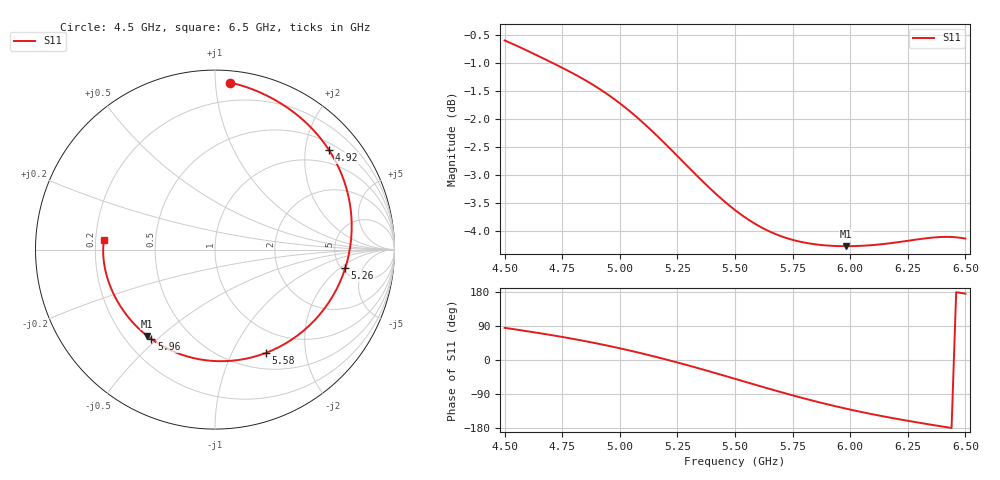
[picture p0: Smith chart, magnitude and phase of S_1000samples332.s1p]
! TOUCHSTONE file generated by CST MICROWAVE STUDIO
! Date and time: Thu Oct 27 19:37:09 2022
! Project name: L.cst
! Parameters = {Di=1.27; Epsilon_r=1.56; InnerDiameter=1.27; Length=2; Lf=10; Lg=60; OuterConductorThickness=0.2921; OuterDiameter=3.6; Wf=3; Wp=41.2; de=1.5; df=6.8; g=0.8; gx=4.68885; gy=2.17261; h=2.34; hf=1.524; px=13.4149; py=9.33814; w=9.7; wx=8.72603; wy=7.16553}
! Header version: 2018
! Port assignment regex: !\s*Touchstone port\s*([0-9]+)\s*=\s*(CST MWS port|CST DS port)\s*([0-9]+|Zmin|Zmax)\s*\(\"(.*)\"\)(\s*mode\s*([0-9]+))?.*
! Touchstone port assignment:
! Touchstone port 1 = CST MWS port 1 ("")
# GHz S DB R 50
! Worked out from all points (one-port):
!   101 points, 4.5 GHz to 6.5 GHz, reference 50 ohm
!   lowest |S11| = -4.3 dB at 5.98 GHz (marker M1), VSWR 4.15, Z = 14.7 - j22.6 ohm
!   |S11| at or under -10 dB: nowhere
!   S11 on the Smith chart (normalised r, x): 4.5 GHz: 0.07, +1.09; 4.92 GHz: 0.65, +2.51; 5.26 GHz: 5.36, -2.42; 5.58 GHz: 0.69, -1.36; 5.96 GHz: 0.30, -0.48; 6.5 GHz: 0.23, +0.04
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4.5  -0.59 84.9
4.56  -0.70 79.4
4.64  -0.86 71.9
4.76  -1.10 59.8
4.84  -1.28 50.9
4.92  -1.48 41.2
5  -1.71 30.8
5.08  -1.99 19.7
5.14  -2.21 10.8
5.2  -2.45 1.5
5.26  -2.70 -8.2
5.32  -2.95 -18.2
5.38  -3.19 -28.5
5.44  -3.42 -39.0
5.5  -3.63 -49.6
5.58  -3.86 -63.9
5.66  -4.03 -77.9
5.7  -4.10 -84.8
5.76  -4.17 -94.9
5.86  -4.25 -110.8
5.96  -4.27 -125.4
5.98  -4.27 -128.1
6  -4.27 -130.8
6.12  -4.25 -145.9
6.18  -4.22 -152.8
6.26  -4.17 -161.5
6.38  -4.11 -173.6
6.5  -4.14 175.2
